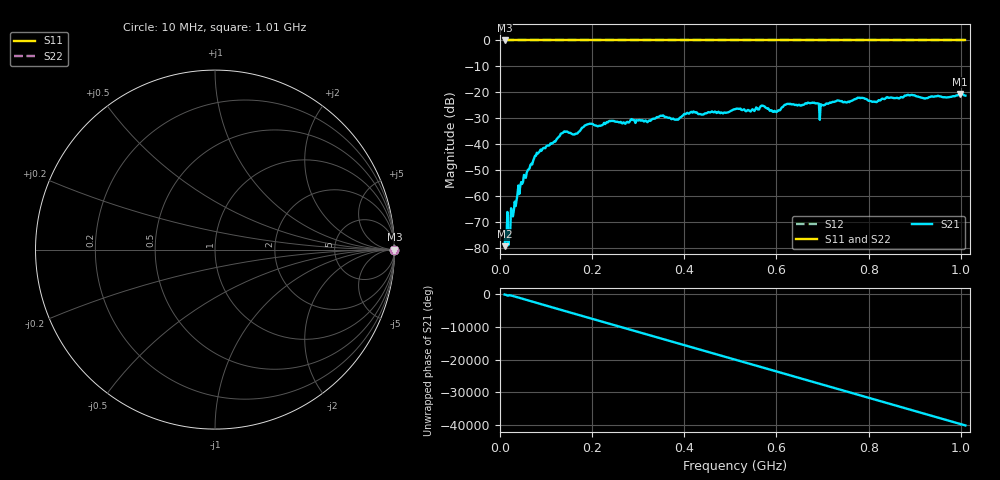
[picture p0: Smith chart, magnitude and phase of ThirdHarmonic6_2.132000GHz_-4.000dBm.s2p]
! 8/17/2025 1:28:25 AM
! C:\ANRITSUVNA\TEMP\TEMP.S2P
! CHANNEL.1
! TR.MEASUREMENT
! RAW.DATA
! RF.CORRECTION.OFF
! AVERAGING.OFF
! IF.BANDWIDTH: 5KHZ
! SWEEPTYPE:  FREQ.SWEEP(Linear)
! Reference Plane Port Info
! PORT:  PORT1  PORT2
! DISTANCE:  0  m  0  m
! TIME:  0  s  0  s
! PHASE.OFFSET:  0  deg.  0  deg.
! LOSS:  0  dB  0  dB
! REF.LOSS:  0  dB  0  dB
! REF.FREQ:  0  Hz  0  Hz
! Power Info
! POWER:  -20  dBm  -20  dBm
! EFF.POWER:  -20  dBm  -20  dBm
! SOURCE.ATTEN:  0  dB  0  dB
! TEST.ATTEN:  0  dB  0  dB
# GHZ S RI R 50.0
! FREQ.GHZ  S11RE  S11IM  S21RE  S21IM  S12RE  S12IM  S22RE  S22IM
!; PortSelection: Port_12
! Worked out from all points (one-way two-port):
!   501 points, 10 MHz to 1.01 GHz, reference 50 ohm
!   highest |S21| = -20.62 dB at 998 MHz (marker M1); lowest = -79.2 dB at 10 MHz (marker M2)
!   lowest |S11| = 0.0 dB at 10 MHz (marker M3)
!   |S11| at or under -10 dB: nowhere
!   |S22| runs from 0.0 to 0.0 dB; largest |S21 - S12| = 1.1
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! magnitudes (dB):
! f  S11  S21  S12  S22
! 10 MHz  0.0  -79.2  0.0  0.0
! 12 MHz  0.0  -73.3  0.0  0.0
! 22 MHz  0.0  -74.3  0.0  0.0
! 28 MHz  0.0  -67.8  0.0  0.0
! 42 MHz  0.0  -59.1  0.0  0.0
! 78 MHz  0.0  -44.4  0.0  0.0
! 136 MHz  0.0  -35.7  0.0  0.0
! 164 MHz  0.0  -35.9  0.0  0.0
! 178 MHz  0.0  -33.6  0.0  0.0
! 344 MHz  0.0  -29.5  0.0  0.0
! 384 MHz  0.0  -30.4  0.0  0.0
! 418 MHz  0.0  -27.8  0.0  0.0
! 510 MHz  0.0  -26.5  0.0  0.0
! 570 MHz  0.0  -25.1  0.0  0.0
! 596 MHz  0.0  -27.1  0.0  0.0
! 622 MHz  0.0  -24.5  0.0  0.0
! 678 MHz  0.0  -23.9  0.0  0.0
! 698 MHz  0.0  -24.9  0.0  0.0
! 732 MHz  0.0  -23.1  0.0  0.0
! 844 MHz  0.0  -22.1  0.0  0.0
! 998 MHz  0.0  -20.6  0.0  0.0
! 1.01 GHz  0.0  -21.2  0.0  0.0
